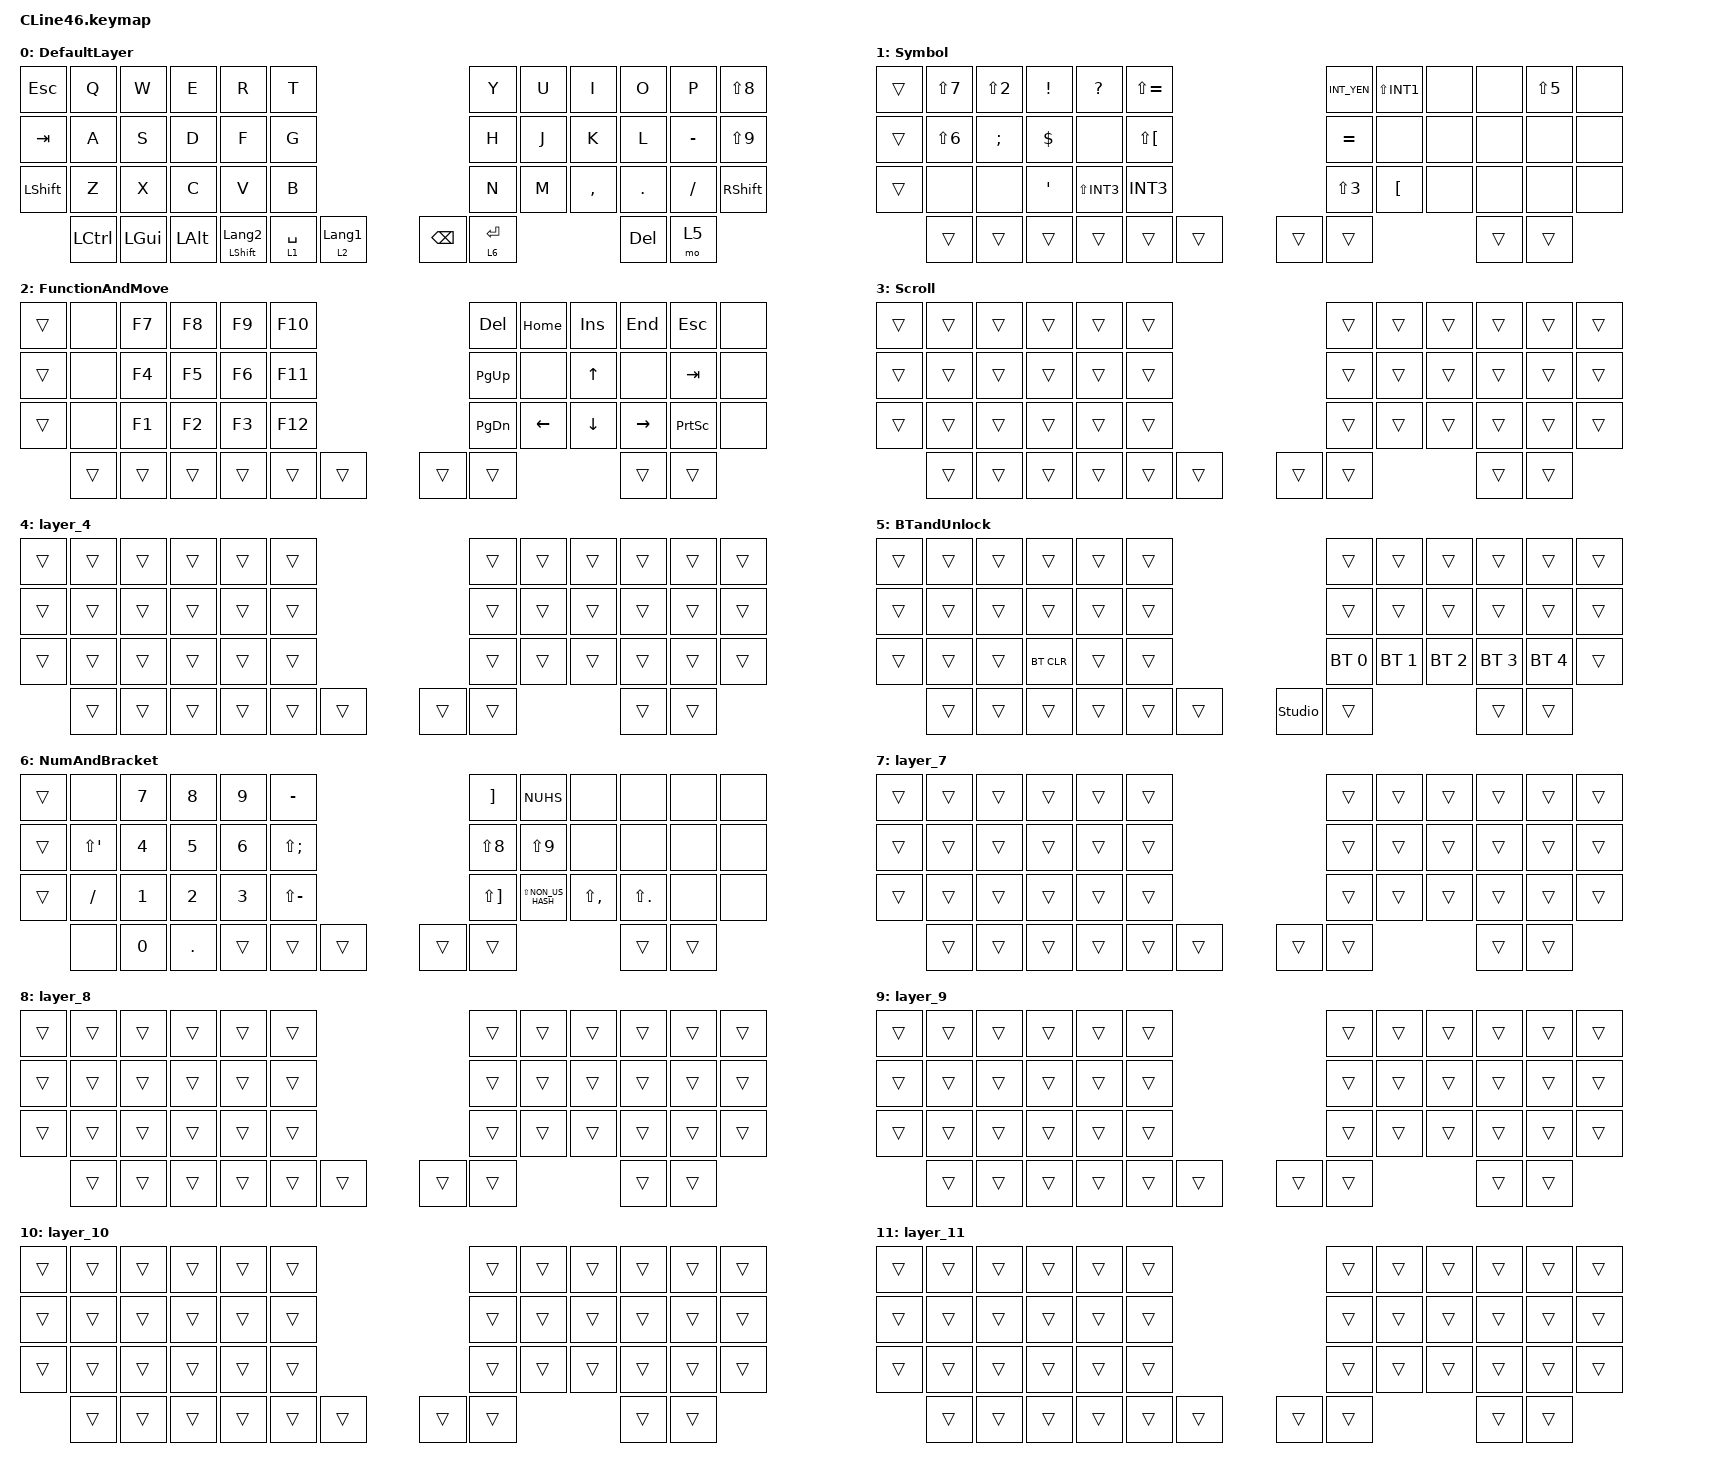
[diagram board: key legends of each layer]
#include <input/processors.dtsi>
#include <dt-bindings/zmk/input_transform.h>
#include <zephyr/dt-bindings/input/input-event-codes.h>
#include <behaviors.dtsi>
#include <behaviors/runtime_macro.dtsi>
#include <dt-bindings/zmk/bt.h>
#include <dt-bindings/zmk/keys.h>
#include <dt-bindings/zmk/pointing.h>

&mt {
    flavor = "balanced";
    quick-tap-ms = <0>;
};

/ {
    runtime_combo_defaults {
        compatible = "cormoran,runtime-combo-defaults";

        LeftClick {
            bindings = <&mkp LCLK>;
            key-positions = <19 20>;
        };

        RightClick {
            bindings = <&mkp RCLK>;
            key-positions = <20 21>;
        };

        ScrollMode {
            bindings = <&mo 3>;
            key-positions = <31 20>;
        };

        MiddleClick {
            bindings = <&mkp MCLK>;
            key-positions = <19 8>;
        };
    };

    keymap {
        compatible = "zmk,keymap";

        DefaultLayer {
            bindings = <
&kp ESC     &kp Q      &kp W     &kp E     &kp R                      &kp T                                           &kp Y        &kp U  &kp I      &kp O       &kp P      &kp LS(N8)
&kp TAB     &kp A      &kp S     &kp D     &kp F                      &kp G                                           &kp H        &kp J  &kp K      &kp L       &kp MINUS  &kp LS(N9)
&kp LSHIFT  &kp Z      &kp X     &kp C     &kp V                      &kp B                                           &kp N        &kp M  &kp COMMA  &kp DOT     &kp SLASH  &kp RSHIFT
            &kp LCTRL  &kp LGUI  &kp LALT  &mt LEFT_SHIFT LANGUAGE_2  &lt 1 SPACE  &lt 2 LANGUAGE_1    &kp BACKSPACE  &lt 6 ENTER                    &kp DELETE  &mo 5
            >;
        };

        Symbol {
            bindings = <
&trans  &kp LS(N7)        &kp LS(NUMBER_2)  &kp EXCLAMATION  &kp QUESTION  &kp LS(EQUAL)                    &kp INT_YEN       &kp LS(INT1)      &none  &none   &kp LS(N5)  &none
&trans  &kp LS(NUMBER_6)  &kp SEMICOLON     &kp DOLLAR       &none         &kp LS(LBKT)                     &kp EQUAL         &none             &none  &none   &none       &none
&trans  &none             &none             &kp SQT          &kp LS(INT3)  &kp INT3                         &kp LS(NUMBER_3)  &kp LEFT_BRACKET  &none  &none   &none       &none
        &trans            &trans            &trans           &trans        &trans         &trans    &trans  &trans                                     &trans  &trans
            >;
        };

        FunctionAndMove {
            bindings = <
&trans  &none   &kp F7  &kp F8  &kp F9  &kp F10                    &kp DELETE     &kp HOME        &kp INS         &kp END          &kp ESCAPE       &none
&trans  &none   &kp F4  &kp F5  &kp F6  &kp F11                    &kp PG_UP      &none           &kp UP_ARROW    &none            &kp TAB          &none
&trans  &none   &kp F1  &kp F2  &kp F3  &kp F12                    &kp PAGE_DOWN  &kp LEFT_ARROW  &kp DOWN_ARROW  &kp RIGHT_ARROW  &kp PRINTSCREEN  &none
        &trans  &trans  &trans  &trans  &trans   &trans    &trans  &trans                                         &trans           &trans
            >;
        };

        Scroll {
            bindings = <
&trans  &trans  &trans  &trans  &trans  &trans                    &trans  &trans  &trans  &trans  &trans  &trans
&trans  &trans  &trans  &trans  &trans  &trans                    &trans  &trans  &trans  &trans  &trans  &trans
&trans  &trans  &trans  &trans  &trans  &trans                    &trans  &trans  &trans  &trans  &trans  &trans
        &trans  &trans  &trans  &trans  &trans  &trans    &trans  &trans                  &trans  &trans
            >;
        };

        layer_4 {
            bindings = <
&trans  &trans  &trans  &trans  &trans  &trans                    &trans  &trans  &trans  &trans  &trans  &trans
&trans  &trans  &trans  &trans  &trans  &trans                    &trans  &trans  &trans  &trans  &trans  &trans
&trans  &trans  &trans  &trans  &trans  &trans                    &trans  &trans  &trans  &trans  &trans  &trans
        &trans  &trans  &trans  &trans  &trans  &trans    &trans  &trans                  &trans  &trans
            >;
        };

        BTandUnlock {
            bindings = <
&trans  &trans  &trans  &trans      &trans  &trans                            &trans        &trans        &trans        &trans        &trans        &trans
&trans  &trans  &trans  &trans      &trans  &trans                            &trans        &trans        &trans        &trans        &trans        &trans
&trans  &trans  &trans  &bt BT_CLR  &trans  &trans                            &bt BT_SEL 0  &bt BT_SEL 1  &bt BT_SEL 2  &bt BT_SEL 3  &bt BT_SEL 4  &trans
        &trans  &trans  &trans      &trans  &trans  &trans    &studio_unlock  &trans                                    &trans        &trans
            >;
        };

        NumAndBracket {
            bindings = <
&trans  &none        &kp NUMBER_7  &kp NUMBER_8  &kp NUMBER_9  &kp MINUS                            &kp RIGHT_BRACKET      &kp NUHS             &none          &none           &none   &none
&trans  &kp LS(SQT)  &kp NUMBER_4  &kp NUMBER_5  &kp NUMBER_6  &kp LS(SEMICOLON)                    &kp LS(N8)             &kp LS(N9)           &none          &none           &none   &none
&trans  &kp SLASH    &kp NUMBER_1  &kp NUMBER_2  &kp NUMBER_3  &kp LS(MINUS)                        &kp LS(RIGHT_BRACKET)  &kp LS(NON_US_HASH)  &kp LS(COMMA)  &kp LS(PERIOD)  &none   &none
        &none        &kp NUMBER_0  &kp PERIOD    &trans        &trans             &trans    &trans  &trans                                                     &trans          &trans
            >;
        };

        layer_7 {
            bindings = <
&trans  &trans  &trans  &trans  &trans  &trans                    &trans  &trans  &trans  &trans  &trans  &trans
&trans  &trans  &trans  &trans  &trans  &trans                    &trans  &trans  &trans  &trans  &trans  &trans
&trans  &trans  &trans  &trans  &trans  &trans                    &trans  &trans  &trans  &trans  &trans  &trans
        &trans  &trans  &trans  &trans  &trans  &trans    &trans  &trans                  &trans  &trans
            >;
        };

        layer_8 {
            bindings = <
&trans  &trans  &trans  &trans  &trans  &trans                    &trans  &trans  &trans  &trans  &trans  &trans
&trans  &trans  &trans  &trans  &trans  &trans                    &trans  &trans  &trans  &trans  &trans  &trans
&trans  &trans  &trans  &trans  &trans  &trans                    &trans  &trans  &trans  &trans  &trans  &trans
        &trans  &trans  &trans  &trans  &trans  &trans    &trans  &trans                  &trans  &trans
            >;
        };

        layer_9 {
            bindings = <
&trans  &trans  &trans  &trans  &trans  &trans                    &trans  &trans  &trans  &trans  &trans  &trans
&trans  &trans  &trans  &trans  &trans  &trans                    &trans  &trans  &trans  &trans  &trans  &trans
&trans  &trans  &trans  &trans  &trans  &trans                    &trans  &trans  &trans  &trans  &trans  &trans
        &trans  &trans  &trans  &trans  &trans  &trans    &trans  &trans                  &trans  &trans
            >;
        };

        layer_10 {
            bindings = <
&trans  &trans  &trans  &trans  &trans  &trans                    &trans  &trans  &trans  &trans  &trans  &trans
&trans  &trans  &trans  &trans  &trans  &trans                    &trans  &trans  &trans  &trans  &trans  &trans
&trans  &trans  &trans  &trans  &trans  &trans                    &trans  &trans  &trans  &trans  &trans  &trans
        &trans  &trans  &trans  &trans  &trans  &trans    &trans  &trans                  &trans  &trans
            >;
        };

        layer_11 {
            bindings = <
&trans  &trans  &trans  &trans  &trans  &trans                    &trans  &trans  &trans  &trans  &trans  &trans
&trans  &trans  &trans  &trans  &trans  &trans                    &trans  &trans  &trans  &trans  &trans  &trans
&trans  &trans  &trans  &trans  &trans  &trans                    &trans  &trans  &trans  &trans  &trans  &trans
        &trans  &trans  &trans  &trans  &trans  &trans    &trans  &trans                  &trans  &trans
            >;
        };

    };
};
